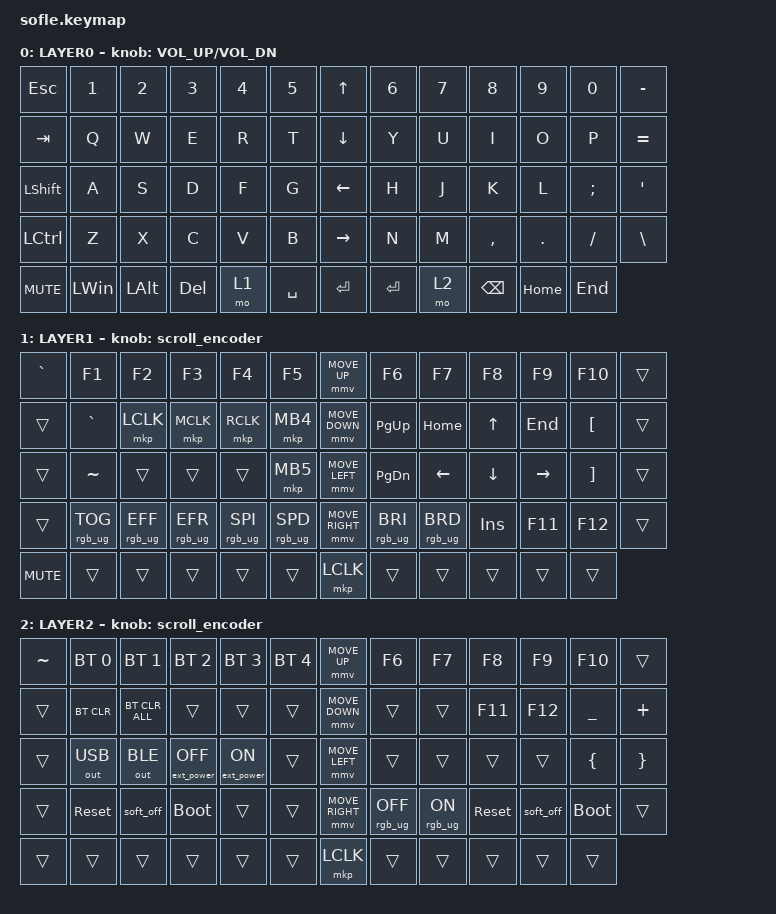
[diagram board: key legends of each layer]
#include <behaviors/mouse_keys.dtsi>
#include <behaviors.dtsi>
#include <dt-bindings/zmk/bt.h>
#include <dt-bindings/zmk/ext_power.h>
#include <dt-bindings/zmk/keys.h>
#include <dt-bindings/zmk/mouse.h>
#include <dt-bindings/zmk/outputs.h>
#include <dt-bindings/zmk/rgb.h>

#define ZMK_MOUSE_DEFAULT_MOVE_VAL 1200  // 600
#define ZMK_MOUSE_DEFAULT_SCRL_VAL 20    // 10
#define U_MS_U &mmv MOVE_UP
#define U_MS_D &mmv MOVE_DOWN
#define U_MS_L &mmv MOVE_LEFT
#define U_MS_R &mmv MOVE_RIGHT
#define ZMK_MOUSE_DEFAULT_MOVE_VAL 1200  //  600
#define ZMK_MOUSE_DEFAULT_SCRL_VAL 20    // 10

/ {
    behaviors {
        mmv {
            acceleration-exponent = <1>;      // 1
            time-to-max-speed-ms = <900>;    // 40
            delay-ms = <0>;                   // 0
        };

        msc {
            acceleration-exponent = <1>;      // 0
            time-to-max-speed-ms = <400>;      // 500
            delay-ms = <0>;                   //   10
        };
    };

    scroll_encoder: scroll_encoder {
        compatible = "zmk,behavior-sensor-rotate";
        #sensor-binding-cells = <0>;
        bindings = <&msc SCRL_DOWN>, <&msc SCRL_UP>;

        tap-ms = <30>;
    };

    keymap {
        compatible = "zmk,keymap";

        LAYER0 {
            bindings = <
&kp ESC           &kp N1    &kp N2        &kp N3      &kp N4  &kp N5       &kp UP_ARROW     &kp N6     &kp N7  &kp N8         &kp N9    &kp N0    &kp MINUS
&kp TAB           &kp Q     &kp W         &kp E       &kp R   &kp T        &kp DOWN_ARROW   &kp Y      &kp U   &kp I          &kp O     &kp P     &kp EQUAL
&kp LEFT_SHIFT    &kp A     &kp S         &kp D       &kp F   &kp G        &kp LEFT_ARROW   &kp H      &kp J   &kp K          &kp L     &kp SEMI  &kp APOS
&kp LEFT_CONTROL  &kp Z     &kp X         &kp C       &kp V   &kp B        &kp RIGHT_ARROW  &kp N      &kp M   &kp COMMA      &kp DOT   &kp FSLH  &kp BSLH
&kp C_MUTE        &kp LWIN  &kp LEFT_ALT  &kp DELETE  &mo 1   &kp SPACE    &kp ENTER        &kp ENTER  &mo 2   &kp BACKSPACE  &kp HOME  &kp END
            >;

            sensor-bindings = <&inc_dec_kp C_VOLUME_UP C_VOL_DN>;
            display-name = "LAYER0";
        };

        layer_1 {
            bindings = <
&kp GRAVE   &kp F1           &kp F2           &kp F3           &kp F4           &kp F5             &mmv MOVE_UP     &kp F6           &kp F7           &kp F8      &kp F9     &kp F10            &trans
&trans      &kp GRAVE        &mkp LCLK        &mkp MCLK        &mkp RCLK        &mkp MB4           &mmv MOVE_DOWN   &kp PG_UP        &kp HOME         &kp UP      &kp END    &kp LEFT_BRACKET   &trans
&trans      &kp TILDE        &trans           &trans           &trans           &mkp MB5           &mmv MOVE_LEFT   &kp PG_DN        &kp LEFT         &kp DOWN    &kp RIGHT  &kp RIGHT_BRACKET  &trans
&trans      &rgb_ug RGB_TOG  &rgb_ug RGB_EFF  &rgb_ug RGB_EFR  &rgb_ug RGB_SPI  &rgb_ug RGB_SPD    &mmv MOVE_RIGHT  &rgb_ug RGB_BRI  &rgb_ug RGB_BRD  &kp INSERT  &kp F11    &kp F12            &trans
&kp C_MUTE  &trans           &trans           &trans           &trans           &trans             &mkp LCLK        &trans           &trans           &trans      &trans     &trans
            >;

            display-name = "LAYER1";
            sensor-bindings = <&scroll_encoder>;
        };

        layer_2 {
            bindings = <
&kp TILDE  &bt BT_SEL 0  &bt BT_SEL 1    &bt BT_SEL 2       &bt BT_SEL 3      &bt BT_SEL 4    &mmv MOVE_UP     &kp F6           &kp F7          &kp F8      &kp F9     &kp F10      &trans
&trans     &bt BT_CLR    &bt BT_CLR_ALL  &trans             &trans            &trans          &mmv MOVE_DOWN   &trans           &trans          &kp F11     &kp F12    &kp UNDER    &kp PLUS
&trans     &out OUT_USB  &out OUT_BLE    &ext_power EP_OFF  &ext_power EP_ON  &trans          &mmv MOVE_LEFT   &trans           &trans          &trans      &trans     &kp LBRC     &kp RBRC
&trans     &sys_reset    &soft_off       &bootloader        &trans            &trans          &mmv MOVE_RIGHT  &rgb_ug RGB_OFF  &rgb_ug RGB_ON  &sys_reset  &soft_off  &bootloader  &trans
&trans     &trans        &trans          &trans             &trans            &trans          &mkp LCLK        &trans           &trans          &trans      &trans     &trans
            >;

            display-name = "LAYER2";
            sensor-bindings = <&scroll_encoder>;
        };
    };
};
